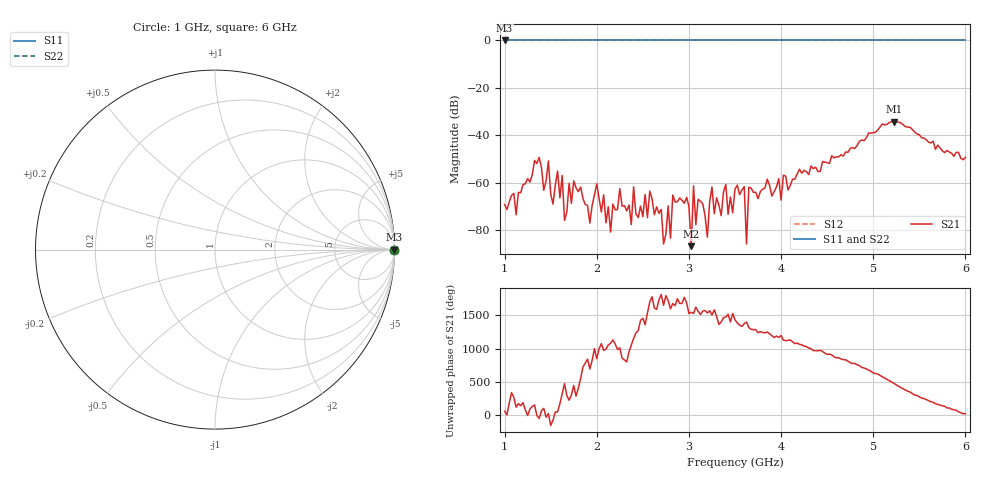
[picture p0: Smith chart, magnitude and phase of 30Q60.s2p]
!Keysight Technologies N9926A: A.08.19
!Date: Sunday, 01 March 2026 14:13:17
!Timezone: (GMT-06:00) Central Time (US & Canada)
!Model: N9926A
!Serial: MY53102721
!GPS Latitude:
!GPS Longitude:
!GPS TimeStamp: 0001-01-01 00:00:00Z
!GPS Seconds Since Last Read: 0
!CHECKSUM:0491690468
!Correction: S11()S21(ON U)S12()S22()
!S2P File: Measurements:S11,S21,S12,S22:
# Hz S DB R 50
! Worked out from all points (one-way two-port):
!   201 points, 1 GHz to 6 GHz, reference 50 ohm
!   highest |S21| = -34.22 dB at 5.225 GHz (marker M1); lowest = -86.7 dB at 3.025 GHz (marker M2)
!   lowest |S11| = 0.0 dB at 1 GHz (marker M3)
!   |S11| at or under -10 dB: nowhere
!   |S22| runs from 0.0 to 0.0 dB; largest |S21 - S12| = 1
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1e9  0.00 0.0  -69.20 55.3  0.00 0.0  0.00 0.0
1.375e9  0.00 0.0  -49.31 -54.1  0.00 0.0  0.00 0.0
1.525e9  0.00 0.0  -69.00 -82.5  0.00 0.0  0.00 0.0
1.625e9  0.00 0.0  -56.94 -38.7  0.00 0.0  0.00 0.0
1.65e9  0.00 0.0  -75.88 110.8  0.00 0.0  0.00 0.0
1.7e9  0.00 0.0  -60.21 -139.7  0.00 0.0  0.00 0.0
1.85e9  0.00 0.0  -66.61 -0.3  0.00 0.0  0.00 0.0
2.675e9  0.00 0.0  -72.89 -62.3  0.00 0.0  0.00 0.0
2.975e9  0.00 0.0  -66.15 -109.6  0.00 0.0  0.00 0.0
3.025e9  0.00 0.0  -86.73 107.1  0.00 0.0  0.00 0.0
3.05e9  0.00 0.0  -61.29 89.3  0.00 0.0  0.00 0.0
3.075e9  0.00 0.0  -77.67 -175.3  0.00 0.0  0.00 0.0
3.2e9  0.00 0.0  -82.92 97.2  0.00 0.0  0.00 0.0
3.25e9  0.00 0.0  -61.79 65.6  0.00 0.0  0.00 0.0
3.5e9  0.00 0.0  -62.68 -7.3  0.00 0.0  0.00 0.0
3.6e9  0.00 0.0  -61.65 -64.7  0.00 0.0  0.00 0.0
3.625e9  0.00 0.0  -85.81 -39.5  0.00 0.0  0.00 0.0
3.65e9  0.00 0.0  -61.91 -123.3  0.00 0.0  0.00 0.0
4.35e9  0.00 0.0  -54.05 -111.6  0.00 0.0  0.00 0.0
5.175e9  0.00 0.0  -34.60 154.2  0.00 0.0  0.00 0.0
5.225e9  0.00 0.0  -34.22 113.2  0.00 0.0  0.00 0.0
6e9  0.00 0.0  -49.36 17.6  0.00 0.0  0.00 0.0
